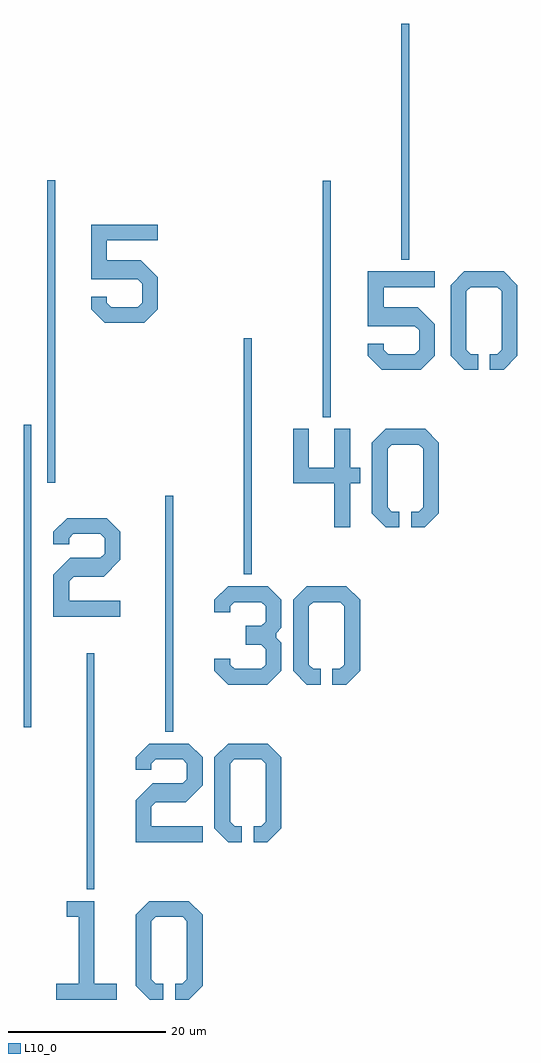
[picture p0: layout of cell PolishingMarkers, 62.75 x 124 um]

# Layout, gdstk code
import gdstk
lib = gdstk.Library(unit=1e-6, precision=1e-09)
def R(c, l, rs):  # rectangles x0, y0, x1, y1
    for r in rs: c.add(gdstk.rectangle(r[:2], r[2:], *l))
def P(c, l, *ps):  # polygons
    for p in ps: c.add(gdstk.Polygon(p, *l))
L10_0 = (10, 0)

marker = lib.new_cell('Marker')
R(marker, L10_0, [(17309.5,22220,17310.5,22250), (17319.5,22240,17320.5,22270), (17329.5,22260,17330.5,22290), (17329.5,22260,17330.5,22290), (17339.5,22280,17340.5,22310), (17339.5,22280,17340.5,22310), (17349.5,22300,17350.5,22330), (17349.5,22300,17350.5,22330)])
P(marker, L10_0, [(17327.51,22246),(17325.75,22247.76),(17325.75,22249.3),(17327.75,22249.3),(17327.75,22248.56),(17328.31,22248),(17331.69,22248),(17332.25,22248.56),(17332.25,22250.5),(17331.69,22251.06),(17329.75,22251.06),(17329.75,22253.46),(17331.71,22253.46),(17332.25,22254),(17332.25,22255.96),(17331.71,22256.5),(17328.29,22256.5),(17327.75,22255.96),(17327.75,22255.2),(17325.75,22255.2),(17325.75,22256.76),(17327.49,22258.5),(17332.51,22258.5),(17334.25,22256.76),(17334.25,22253.2),(17333.59,22252.54),(17333.59,22251.96),(17334.25,22251.3),(17334.25,22247.76),(17332.49,22246)],
  [(17305.642,22206),(17305.642,22208),(17308.482,22208),(17308.482,22216.5),(17306.982,22216.5),(17306.982,22218.5),(17310.482,22218.5),(17310.482,22208),(17313.342,22208),(17313.342,22206)],
  [(17315.75,22226),(17315.75,22231.3),(17317.91,22233.46),(17321.71,22233.46),(17322.25,22234),(17322.25,22235.96),(17321.71,22236.5),(17318.29,22236.5),(17317.75,22235.96),(17317.75,22235.2),(17315.75,22235.2),(17315.75,22236.76),(17317.49,22238.5),(17322.51,22238.5),(17324.25,22236.76),(17324.25,22233.2),(17322.11,22231.06),(17318.31,22231.06),(17317.75,22230.5),(17317.75,22228),(17324.25,22228),(17324.25,22226)],
  [(17347.01,22286),(17345.25,22287.76),(17345.25,22289.3),(17347.25,22289.3),(17347.25,22288.56),(17347.81,22288),(17351.19,22288),(17351.75,22288.56),(17351.75,22291),(17351.19,22291.56),(17345.25,22291.56),(17345.25,22298.5),(17353.75,22298.5),(17353.75,22296.5),(17347.25,22296.5),(17347.25,22293.96),(17351.59,22293.96),(17353.75,22291.8),(17353.75,22287.76),(17351.99,22286)],
  [(17347.51,22266),(17345.75,22267.76),(17345.75,22276.76),(17347.49,22278.5),(17352.51,22278.5),(17354.25,22276.76),(17354.25,22267.76),(17352.49,22266),(17350.75,22266),(17350.75,22268),(17351.69,22268),(17352.25,22268.56),(17352.25,22275.96),(17351.71,22276.5),(17348.29,22276.5),(17347.75,22275.96),(17347.75,22268.56),(17348.31,22268),(17349.25,22268),(17349.25,22266)],
  [(17337.51,22246),(17335.75,22247.76),(17335.75,22256.76),(17337.49,22258.5),(17342.51,22258.5),(17344.25,22256.76),(17344.25,22247.76),(17342.49,22246),(17340.75,22246),(17340.75,22248),(17341.69,22248),(17342.25,22248.56),(17342.25,22255.96),(17341.71,22256.5),(17338.29,22256.5),(17337.75,22255.96),(17337.75,22248.56),(17338.31,22248),(17339.25,22248),(17339.25,22246)],
  [(17327.51,22226),(17325.75,22227.76),(17325.75,22236.76),(17327.49,22238.5),(17332.51,22238.5),(17334.25,22236.76),(17334.25,22227.76),(17332.49,22226),(17330.75,22226),(17330.75,22228),(17331.69,22228),(17332.25,22228.56),(17332.25,22235.96),(17331.71,22236.5),(17328.29,22236.5),(17327.75,22235.96),(17327.75,22228.56),(17328.31,22228),(17329.25,22228),(17329.25,22226)],
  [(17317.51,22206),(17315.75,22207.76),(17315.75,22216.76),(17317.49,22218.5),(17322.51,22218.5),(17324.25,22216.76),(17324.25,22207.76),(17322.49,22206),(17320.75,22206),(17320.75,22208),(17321.69,22208),(17322.25,22208.56),(17322.25,22215.96),(17321.71,22216.5),(17318.29,22216.5),(17317.75,22215.96),(17317.75,22208.56),(17318.31,22208),(17319.25,22208),(17319.25,22206)],
  [(17357.51,22286),(17355.75,22287.76),(17355.75,22296.76),(17357.49,22298.5),(17362.51,22298.5),(17364.25,22296.76),(17364.25,22287.76),(17362.49,22286),(17360.75,22286),(17360.75,22288),(17361.69,22288),(17362.25,22288.56),(17362.25,22295.96),(17361.71,22296.5),(17358.29,22296.5),(17357.75,22295.96),(17357.75,22288.56),(17358.31,22288),(17359.25,22288),(17359.25,22286)],
  [(17340.99,22266),(17340.99,22271.56),(17335.75,22271.56),(17335.75,22278.5),(17337.75,22278.5),(17337.75,22273.56),(17340.99,22273.56),(17340.99,22278.5),(17342.99,22278.5),(17342.99,22273.56),(17344.25,22273.56),(17344.25,22271.56),(17342.99,22271.56),(17342.99,22266)],
  [(17357.51,22286),(17355.75,22287.76),(17355.75,22296.76),(17357.49,22298.5),(17362.51,22298.5),(17364.25,22296.76),(17364.25,22287.76),(17362.49,22286),(17360.75,22286),(17360.75,22288),(17361.69,22288),(17362.25,22288.56),(17362.25,22295.96),(17361.71,22296.5),(17358.29,22296.5),(17357.75,22295.96),(17357.75,22288.56),(17358.31,22288),(17359.25,22288),(17359.25,22286)],
  [(17347.01,22286),(17345.25,22287.76),(17345.25,22289.3),(17347.25,22289.3),(17347.25,22288.56),(17347.81,22288),(17351.19,22288),(17351.75,22288.56),(17351.75,22291),(17351.19,22291.56),(17345.25,22291.56),(17345.25,22298.5),(17353.75,22298.5),(17353.75,22296.5),(17347.25,22296.5),(17347.25,22293.96),(17351.59,22293.96),(17353.75,22291.8),(17353.75,22287.76),(17351.99,22286)],
  [(17327.51,22246),(17325.75,22247.76),(17325.75,22249.3),(17327.75,22249.3),(17327.75,22248.56),(17328.31,22248),(17331.69,22248),(17332.25,22248.56),(17332.25,22250.5),(17331.69,22251.06),(17329.75,22251.06),(17329.75,22253.46),(17331.71,22253.46),(17332.25,22254),(17332.25,22255.96),(17331.71,22256.5),(17328.29,22256.5),(17327.75,22255.96),(17327.75,22255.2),(17325.75,22255.2),(17325.75,22256.76),(17327.49,22258.5),(17332.51,22258.5),(17334.25,22256.76),(17334.25,22253.2),(17333.59,22252.54),(17333.59,22251.96),(17334.25,22251.3),(17334.25,22247.76),(17332.49,22246)],
  [(17347.01,22286),(17345.25,22287.76),(17345.25,22289.3),(17347.25,22289.3),(17347.25,22288.56),(17347.81,22288),(17351.19,22288),(17351.75,22288.56),(17351.75,22291),(17351.19,22291.56),(17345.25,22291.56),(17345.25,22298.5),(17353.75,22298.5),(17353.75,22296.5),(17347.25,22296.5),(17347.25,22293.96),(17351.59,22293.96),(17353.75,22291.8),(17353.75,22287.76),(17351.99,22286)],
  [(17357.51,22286),(17355.75,22287.76),(17355.75,22296.76),(17357.49,22298.5),(17362.51,22298.5),(17364.25,22296.76),(17364.25,22287.76),(17362.49,22286),(17360.75,22286),(17360.75,22288),(17361.69,22288),(17362.25,22288.56),(17362.25,22295.96),(17361.71,22296.5),(17358.29,22296.5),(17357.75,22295.96),(17357.75,22288.56),(17358.31,22288),(17359.25,22288),(17359.25,22286)],
  [(17347.51,22266),(17345.75,22267.76),(17345.75,22276.76),(17347.49,22278.5),(17352.51,22278.5),(17354.25,22276.76),(17354.25,22267.76),(17352.49,22266),(17350.75,22266),(17350.75,22268),(17351.69,22268),(17352.25,22268.56),(17352.25,22275.96),(17351.71,22276.5),(17348.29,22276.5),(17347.75,22275.96),(17347.75,22268.56),(17348.31,22268),(17349.25,22268),(17349.25,22266)],
  [(17337.51,22246),(17335.75,22247.76),(17335.75,22256.76),(17337.49,22258.5),(17342.51,22258.5),(17344.25,22256.76),(17344.25,22247.76),(17342.49,22246),(17340.75,22246),(17340.75,22248),(17341.69,22248),(17342.25,22248.56),(17342.25,22255.96),(17341.71,22256.5),(17338.29,22256.5),(17337.75,22255.96),(17337.75,22248.56),(17338.31,22248),(17339.25,22248),(17339.25,22246)],
  [(17327.51,22226),(17325.75,22227.76),(17325.75,22236.76),(17327.49,22238.5),(17332.51,22238.5),(17334.25,22236.76),(17334.25,22227.76),(17332.49,22226),(17330.75,22226),(17330.75,22228),(17331.69,22228),(17332.25,22228.56),(17332.25,22235.96),(17331.71,22236.5),(17328.29,22236.5),(17327.75,22235.96),(17327.75,22228.56),(17328.31,22228),(17329.25,22228),(17329.25,22226)],
  [(17317.51,22206),(17315.75,22207.76),(17315.75,22216.76),(17317.49,22218.5),(17322.51,22218.5),(17324.25,22216.76),(17324.25,22207.76),(17322.49,22206),(17320.75,22206),(17320.75,22208),(17321.69,22208),(17322.25,22208.56),(17322.25,22215.96),(17321.71,22216.5),(17318.29,22216.5),(17317.75,22215.96),(17317.75,22208.56),(17318.31,22208),(17319.25,22208),(17319.25,22206)],
  [(17315.75,22226),(17315.75,22231.3),(17317.91,22233.46),(17321.71,22233.46),(17322.25,22234),(17322.25,22235.96),(17321.71,22236.5),(17318.29,22236.5),(17317.75,22235.96),(17317.75,22235.2),(17315.75,22235.2),(17315.75,22236.76),(17317.49,22238.5),(17322.51,22238.5),(17324.25,22236.76),(17324.25,22233.2),(17322.11,22231.06),(17318.31,22231.06),(17317.75,22230.5),(17317.75,22228),(17324.25,22228),(17324.25,22226)],
  [(17340.99,22266),(17340.99,22271.56),(17335.75,22271.56),(17335.75,22278.5),(17337.75,22278.5),(17337.75,22273.56),(17340.99,22273.56),(17340.99,22278.5),(17342.99,22278.5),(17342.99,22273.56),(17344.25,22273.56),(17344.25,22271.56),(17342.99,22271.56),(17342.99,22266)],
  [(17305.642,22206),(17305.642,22208),(17308.482,22208),(17308.482,22216.5),(17306.982,22216.5),(17306.982,22218.5),(17310.482,22218.5),(17310.482,22208),(17313.342,22208),(17313.342,22206)],
  [(17347.01,22286),(17345.25,22287.76),(17345.25,22289.3),(17347.25,22289.3),(17347.25,22288.56),(17347.81,22288),(17351.19,22288),(17351.75,22288.56),(17351.75,22291),(17351.19,22291.56),(17345.25,22291.56),(17345.25,22298.5),(17353.75,22298.5),(17353.75,22296.5),(17347.25,22296.5),(17347.25,22293.96),(17351.59,22293.96),(17353.75,22291.8),(17353.75,22287.76),(17351.99,22286)],
  [(17357.51,22286),(17355.75,22287.76),(17355.75,22296.76),(17357.49,22298.5),(17362.51,22298.5),(17364.25,22296.76),(17364.25,22287.76),(17362.49,22286),(17360.75,22286),(17360.75,22288),(17361.69,22288),(17362.25,22288.56),(17362.25,22295.96),(17361.71,22296.5),(17358.29,22296.5),(17357.75,22295.96),(17357.75,22288.56),(17358.31,22288),(17359.25,22288),(17359.25,22286)])

polishingmarkers = lib.new_cell('PolishingMarkers')
R(polishingmarkers, L10_0, [(2,1073.833,3,1112.253), (5,1104.923,6,1143.323)])
P(polishingmarkers, L10_0, [(12.334,1125.194),(10.574,1126.954),(10.574,1128.494),(12.574,1128.494),(12.574,1127.754),(13.134,1127.194),(16.514,1127.194),(17.074,1127.754),(17.074,1130.194),(16.514,1130.754),(10.574,1130.754),(10.574,1137.694),(19.074,1137.694),(19.074,1135.694),(12.574,1135.694),(12.574,1133.154),(16.914,1133.154),(19.074,1130.994),(19.074,1126.954),(17.314,1125.194)],
  [(5.8,1087.883),(5.8,1093.183),(7.96,1095.343),(11.76,1095.343),(12.3,1095.883),(12.3,1097.843),(11.76,1098.383),(8.34,1098.383),(7.8,1097.843),(7.8,1097.083),(5.8,1097.083),(5.8,1098.643),(7.54,1100.383),(12.56,1100.383),(14.3,1098.643),(14.3,1095.083),(12.16,1092.943),(8.36,1092.943),(7.8,1092.383),(7.8,1089.883),(14.3,1089.883),(14.3,1087.883)])
polishingmarkers.add(gdstk.Reference(marker, (-17299.5,-21166.76)))

lib.write_gds('PolishingMarkers.gds')
